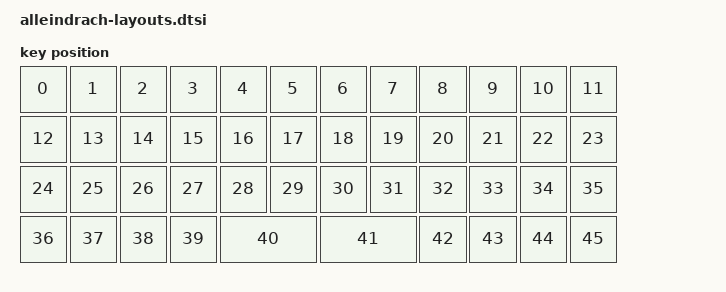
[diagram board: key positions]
/*
 * Copyright (c) 2020 The ZMK Contributors
 *
 * SPDX-License-Identifier: MIT
 *
 * Physical layout for the AlleinDrach.
 *
 * ZMK Studio needs a physical layout that carries the `keys` property, and it
 * must not rely on `chosen { zmk,matrix-transform }` any more. The key
 * positions below are the same ones the old QMK-style `config/info.json`
 * described, converted to centi-"keyunits" (100 = 1u):
 *
 *   w  h   x    y   rot rx ry
 *
 * 4 rows x 12 units, 46 keys, with a 2u Space and a 2u Enter on the bottom
 * row. The order matches the matrix transform in `alleindrach.dtsi`.
 */

#include <physical_layouts.dtsi>

/ {
    physical_layout0: physical_layout_0 {
        compatible = "zmk,physical-layout";
        display-name = "Default";

        kscan = <&kscan0>;
        transform = <&default_transform>;

        keys //                          w    h    x    y  rot rx ry
            = <&key_physical_attrs 100 100    0    0    0  0  0>
            , <&key_physical_attrs 100 100  100    0    0  0  0>
            , <&key_physical_attrs 100 100  200    0    0  0  0>
            , <&key_physical_attrs 100 100  300    0    0  0  0>
            , <&key_physical_attrs 100 100  400    0    0  0  0>
            , <&key_physical_attrs 100 100  500    0    0  0  0>
            , <&key_physical_attrs 100 100  600    0    0  0  0>
            , <&key_physical_attrs 100 100  700    0    0  0  0>
            , <&key_physical_attrs 100 100  800    0    0  0  0>
            , <&key_physical_attrs 100 100  900    0    0  0  0>
            , <&key_physical_attrs 100 100 1000    0    0  0  0>
            , <&key_physical_attrs 100 100 1100    0    0  0  0>

            , <&key_physical_attrs 100 100    0  100    0  0  0>
            , <&key_physical_attrs 100 100  100  100    0  0  0>
            , <&key_physical_attrs 100 100  200  100    0  0  0>
            , <&key_physical_attrs 100 100  300  100    0  0  0>
            , <&key_physical_attrs 100 100  400  100    0  0  0>
            , <&key_physical_attrs 100 100  500  100    0  0  0>
            , <&key_physical_attrs 100 100  600  100    0  0  0>
            , <&key_physical_attrs 100 100  700  100    0  0  0>
            , <&key_physical_attrs 100 100  800  100    0  0  0>
            , <&key_physical_attrs 100 100  900  100    0  0  0>
            , <&key_physical_attrs 100 100 1000  100    0  0  0>
            , <&key_physical_attrs 100 100 1100  100    0  0  0>

            , <&key_physical_attrs 100 100    0  200    0  0  0>
            , <&key_physical_attrs 100 100  100  200    0  0  0>
            , <&key_physical_attrs 100 100  200  200    0  0  0>
            , <&key_physical_attrs 100 100  300  200    0  0  0>
            , <&key_physical_attrs 100 100  400  200    0  0  0>
            , <&key_physical_attrs 100 100  500  200    0  0  0>
            , <&key_physical_attrs 100 100  600  200    0  0  0>
            , <&key_physical_attrs 100 100  700  200    0  0  0>
            , <&key_physical_attrs 100 100  800  200    0  0  0>
            , <&key_physical_attrs 100 100  900  200    0  0  0>
            , <&key_physical_attrs 100 100 1000  200    0  0  0>
            , <&key_physical_attrs 100 100 1100  200    0  0  0>

            , <&key_physical_attrs 100 100    0  300    0  0  0>
            , <&key_physical_attrs 100 100  100  300    0  0  0>
            , <&key_physical_attrs 100 100  200  300    0  0  0>
            , <&key_physical_attrs 100 100  300  300    0  0  0>
            , <&key_physical_attrs 200 100  400  300    0  0  0>
            , <&key_physical_attrs 200 100  600  300    0  0  0>
            , <&key_physical_attrs 100 100  800  300    0  0  0>
            , <&key_physical_attrs 100 100  900  300    0  0  0>
            , <&key_physical_attrs 100 100 1000  300    0  0  0>
            , <&key_physical_attrs 100 100 1100  300    0  0  0>
            ;
    };
};
